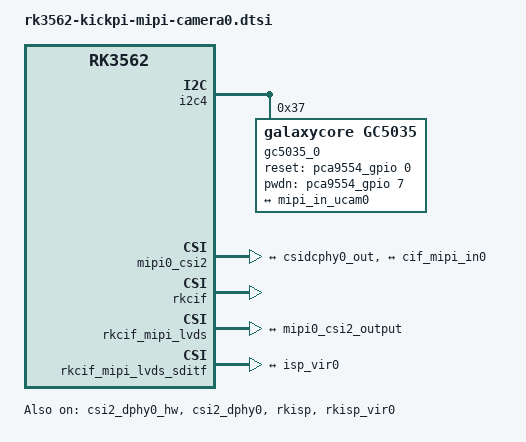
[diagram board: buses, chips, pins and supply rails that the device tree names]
&i2c4 {
        status = "okay";
        gc5035_0: gc5035_0@37 {
                compatible = "galaxycore,gc5035";
                status = "okay";
                reg = <0x37>;

                clocks = <&cru CLK_CAM0_OUT2IO>;
                clock-names = "xvclk";
                pinctrl-names = "default";
                pinctrl-0 = <&camm0_clk0_out>;
                //reset-gpios = <&gpio4 RK_PB4 GPIO_ACTIVE_HIGH>;
                //pwdn-gpios = <&gpio3 RK_PC0 GPIO_ACTIVE_HIGH>;

                reset-gpios = <&pca9554_gpio 0 GPIO_ACTIVE_HIGH>;
                pwdn-gpios = <&pca9554_gpio 7 GPIO_ACTIVE_HIGH>;

                rockchip,camera-module-index = <0>;
                rockchip,camera-module-facing = "front";
                rockchip,camera-module-name = "default";
                rockchip,camera-module-lens-name = "PC5322-M5";
                port {
                        gc5035_out0: endpoint {
                                remote-endpoint = <&mipi_in_ucam0>;
                                data-lanes = <1 2>;
                        };
                };
        };
};



&csi2_dphy0_hw {
	status = "okay";
};

&csi2_dphy0 {
        status = "okay";

        ports {
                #address-cells = <1>;
                #size-cells = <0>;
                port@0 {
                        reg = <0>;
                        #address-cells = <1>;
                        #size-cells = <0>;

			mipi_in_ucam0: endpoint@0 {
                                reg = <0>;
                                remote-endpoint = <&gc5035_out0>;
                                data-lanes = <1 2>;
                        };
              };
                port@1 {
                        reg = <1>;
                        #address-cells = <1>;
                        #size-cells = <0>;

                        csidcphy0_out: endpoint@0 {
                                reg = <0>;
                                remote-endpoint = <&mipi0_csi2_input>;
                        };
                };
        };
};


&mipi0_csi2 {
	status = "okay";

	ports {
		#address-cells = <1>;
		#size-cells = <0>;

		port@0 {
			reg = <0>;
			#address-cells = <1>;
			#size-cells = <0>;

			mipi0_csi2_input: endpoint@1 {
				reg = <1>;
				remote-endpoint = <&csidcphy0_out>;
			};
		};

		port@1 {
			reg = <1>;
			#address-cells = <1>;
			#size-cells = <0>;

			mipi0_csi2_output: endpoint@0 {
				reg = <0>;
				remote-endpoint = <&cif_mipi_in0>;
			};
		};
	};
};

&rkcif {
	status = "okay";
};

&rkcif_mipi_lvds {
	status = "okay";

	port {
		cif_mipi_in0: endpoint {
			remote-endpoint = <&mipi0_csi2_output>;
		};
	};
};

&rkcif_mipi_lvds_sditf {
	status = "okay";

	port {
		mipi_lvds_sditf: endpoint {
			remote-endpoint = <&isp_vir0>;
		};
	};
};

&rkcif_mmu {
	status = "okay";
};

&rkisp {
	status = "okay";
};

&rkisp_mmu {
	status = "okay";
};

&rkisp_vir0 {
	status = "okay";

	port {
		#address-cells = <1>;
		#size-cells = <0>;

		isp_vir0: endpoint@0 {
			reg = <0>;
			remote-endpoint = <&mipi_lvds_sditf>;
		};
	};
};

